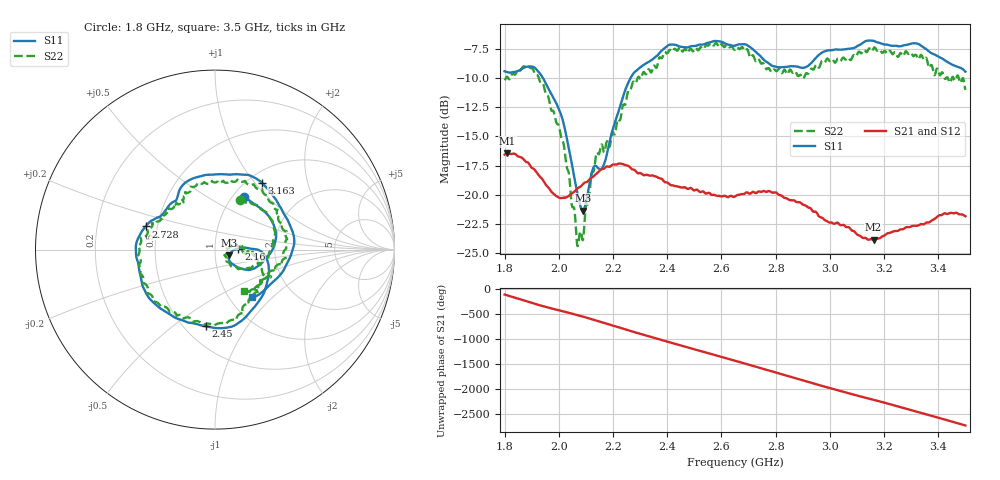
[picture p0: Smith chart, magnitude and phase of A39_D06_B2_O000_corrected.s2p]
! Created with skrf 1.9.0 (http://scikit-rf.org).
# Hz S RI R 50.0
!freq ReS11 ImS11 ReS21 ImS21 ReS12 ImS12 ReS22 ImS22
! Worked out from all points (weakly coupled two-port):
!   1601 points, 1.8 GHz to 3.5 GHz, reference 50 ohm
!   highest |S21| = -16.45 dB at 1.811 GHz (marker M1); lowest = -23.8 dB at 3.161 GHz (marker M2)
!   lowest |S11| = -21.3 dB at 2.089 GHz (marker M3), VSWR 1.19, Z = 58.5 - j3.78 ohm
!   |S11| at or under -10 dB: 1.942 GHz to 2.265 GHz (322.9 MHz wide, 15.4 % of centre)
!   |S22| runs from -24.4 to -7.0 dB; largest |S21 - S12| = 0.0025
!   S11 on the Smith chart (normalised r, x): 1.8 GHz: 1.13, +0.75; 2.16 GHz: 1.30, +0.01; 2.45 GHz: 0.63, -0.66; 2.728 GHz: 0.43, +0.13; 3.163 GHz: 1.15, +1.09; 3.5 GHz: 1.27, -0.76
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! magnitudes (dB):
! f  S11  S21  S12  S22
! 1.8 GHz  -9.4  -16.6  -16.5  -10.2
! 1.811 GHz  -9.5  -16.4  -16.4  -9.9
! 1.883 GHz  -9.0  -17.2  -17.2  -8.9
! 1.942 GHz  -10.0  -18.8  -18.8  -10.5
! 2.013 GHz  -13.4  -20.3  -20.3  -15.3
! 2.067 GHz  -19.6  -19.5  -19.5  -24.1
! 2.084 GHz  -21.2  -19.2  -19.2  -23.4
! 2.089 GHz  -21.3  -19.1  -19.1  -23.8
! 2.127 GHz  -17.7  -18.4  -18.4  -18.0
! 2.16 GHz  -17.7  -17.8  -17.7  -15.8
! 2.261 GHz  -10.2  -17.6  -17.6  -11.0
! 2.367 GHz  -8.0  -18.5  -18.5  -8.5
! 2.45 GHz  -7.3  -19.4  -19.4  -7.5
! 2.65 GHz  -7.2  -20.1  -20.1  -7.6
! 2.728 GHz  -7.8  -19.8  -19.9  -8.6
! 2.802 GHz  -9.0  -19.8  -19.8  -9.4
! 2.934 GHz  -8.7  -21.3  -21.3  -9.2
! 3.161 GHz  -6.8  -23.8  -23.8  -7.5
! 3.163 GHz  -6.8  -23.8  -23.8  -7.4
! 3.217 GHz  -7.2  -23.3  -23.2  -7.8
! 3.324 GHz  -7.1  -22.6  -22.6  -8.3
! 3.5 GHz  -9.5  -21.8  -21.8  -11.0
